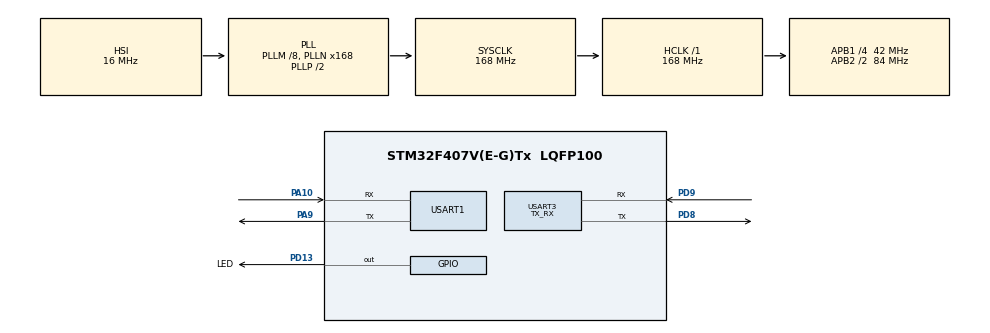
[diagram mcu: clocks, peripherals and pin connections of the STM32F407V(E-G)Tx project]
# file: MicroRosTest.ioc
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Dma.Request0=USART1_RX
Dma.Request1=USART1_TX
Dma.USART1_RX.0.Direction=DMA_PERIPH_TO_MEMORY
Dma.USART1_RX.0.FIFOMode=DMA_FIFOMODE_DISABLE
Dma.USART1_RX.0.Instance=DMA2_Stream2
Dma.USART1_RX.0.MemDataAlignment=DMA_MDATAALIGN_BYTE
Dma.USART1_RX.0.MemInc=DMA_MINC_ENABLE
Dma.USART1_RX.0.Mode=DMA_CIRCULAR
Dma.USART1_RX.0.PeriphDataAlignment=DMA_PDATAALIGN_BYTE
Dma.USART1_RX.0.PeriphInc=DMA_PINC_DISABLE
Dma.USART1_RX.0.Priority=DMA_PRIORITY_VERY_HIGH
Dma.USART1_TX.1.Direction=DMA_MEMORY_TO_PERIPH
Dma.USART1_TX.1.FIFOMode=DMA_FIFOMODE_DISABLE
Dma.USART1_TX.1.Instance=DMA2_Stream7
Dma.USART1_TX.1.MemDataAlignment=DMA_MDATAALIGN_BYTE
Dma.USART1_TX.1.MemInc=DMA_MINC_ENABLE
Dma.USART1_TX.1.Mode=DMA_NORMAL
Dma.USART1_TX.1.PeriphDataAlignment=DMA_PDATAALIGN_BYTE
Dma.USART1_TX.1.PeriphInc=DMA_PINC_DISABLE
Dma.USART1_TX.1.Priority=DMA_PRIORITY_VERY_HIGH
FREERTOS.Tasks01=defaultTask,24,3000,StartDefaultTask,Default,NULL,Static,defaultTaskBuffer,defaultTaskControlBlock
Mcu.Family=STM32F4
Mcu.Name=STM32F407V(E-G)Tx
Mcu.Package=LQFP100
NVIC.DMA2_Stream2_IRQn=true\:5\:0\:false\:false\:true\:true\:false\:true\:true
NVIC.DMA2_Stream7_IRQn=true\:5\:0\:false\:false\:true\:true\:false\:true\:true
NVIC.PriorityGroup=NVIC_PRIORITYGROUP_4
NVIC.TIM1_UP_TIM10_IRQn=true\:15\:0\:false\:false\:true\:false\:false\:true\:true
NVIC.TimeBase=TIM1_UP_TIM10_IRQn
NVIC.TimeBaseIP=TIM1
NVIC.USART1_IRQn=true\:5\:0\:false\:false\:true\:true\:true\:true\:true
PA10.Mode=Asynchronous
PA10.Signal=USART1_RX
PA9.Mode=Asynchronous
PA9.Signal=USART1_TX
PD13.GPIO_Label=LED
PD13.GPIO_PuPd=GPIO_PULLUP
PD13.Signal=GPIO_Output
PD8.Mode=Asynchronous
PD8.Signal=USART3_TX
PD9.Mode=Asynchronous
PD9.Signal=USART3_RX
PH0-OSC_IN.Mode=HSE-External-Oscillator
PH0-OSC_IN.Signal=RCC_OSC_IN
PH1-OSC_OUT.Mode=HSE-External-Oscillator
PH1-OSC_OUT.Signal=RCC_OSC_OUT
ProjectManager.HeapSize=0x200
ProjectManager.StackSize=0x400
ProjectManager.TargetToolchain=Makefile
RCC.48MHZClocksFreq_Value=84000000
RCC.AHBFreq_Value=168000000
RCC.APB1CLKDivider=RCC_HCLK_DIV4
RCC.APB1Freq_Value=42000000
RCC.APB1TimFreq_Value=84000000
RCC.APB2CLKDivider=RCC_HCLK_DIV2
RCC.APB2Freq_Value=84000000
RCC.APB2TimFreq_Value=168000000
RCC.CortexFreq_Value=168000000
RCC.HCLKFreq_Value=168000000
RCC.HSE_VALUE=25000000
RCC.HSI_VALUE=16000000
RCC.LSE_VALUE=32768
RCC.PLLM=8
RCC.PLLN=168
RCC.SYSCLKFreq_VALUE=168000000
RCC.SYSCLKSource=RCC_SYSCLKSOURCE_PLLCLK
RCC.VCOOutputFreq_Value=336000000
USART1.VirtualMode=VM_ASYNC
USART3.Mode=MODE_TX_RX
USART3.VirtualMode=VM_ASYNC
VP_FREERTOS_VS_CMSIS_V2.Mode=CMSIS_V2
VP_SYS_VS_tim1.Mode=TIM1
board=custom

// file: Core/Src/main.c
/* USER CODE BEGIN Header */
/**
  ******************************************************************************
  * @file           : main.c
  * @brief          : Main program body
  ******************************************************************************
  * @attention
  *
  * Copyright (c) 2023 STMicroelectronics.
  * All rights reserved.
  *
  * This software is licensed under terms that can be found in the LICENSE file
  * in the root directory of this software component.
  * If no LICENSE file comes with this software, it is provided AS-IS.
  *
  ******************************************************************************
  */
/* USER CODE END Header */
#include "main.h"
#include "cmsis_os.h"
#include "dma.h"
#include "usart.h"
#include "gpio.h"

void SystemClock_Config(void);
void MX_FREERTOS_Init(void);

int main(void)
{

  /* MCU Configuration--------------------------------------------------------*/

  /* Reset of all peripherals, Initializes the Flash interface and the Systick. */
  HAL_Init();

  /* Configure the system clock */
  SystemClock_Config();

  /* Initialize all configured peripherals */
  MX_GPIO_Init();
  MX_DMA_Init();
  MX_USART1_UART_Init();
  MX_USART3_UART_Init();

  /* Init scheduler */
  osKernelInitialize();  /* Call init function for freertos objects (in freertos.c) */
  MX_FREERTOS_Init();

  /* Start scheduler */
  osKernelStart();

  /* We should never get here as control is now taken by the scheduler */
  /* Infinite loop */
  /* USER CODE BEGIN WHILE */
  while (1)
  {
    break;
    /* USER CODE END WHILE */

  }
}

void SystemClock_Config(void)
{
  RCC_OscInitTypeDef RCC_OscInitStruct = {0};
  RCC_ClkInitTypeDef RCC_ClkInitStruct = {0};

  /** Configure the main internal regulator output voltage
  */
  __HAL_RCC_PWR_CLK_ENABLE();
  __HAL_PWR_VOLTAGESCALING_CONFIG(PWR_REGULATOR_VOLTAGE_SCALE1);

  /** Initializes the RCC Oscillators according to the specified parameters
  * in the RCC_OscInitTypeDef structure.
  */
  RCC_OscInitStruct.OscillatorType = RCC_OSCILLATORTYPE_HSI;
  RCC_OscInitStruct.HSIState = RCC_HSI_ON;
  RCC_OscInitStruct.HSICalibrationValue = RCC_HSICALIBRATION_DEFAULT;
  RCC_OscInitStruct.PLL.PLLState = RCC_PLL_ON;
  RCC_OscInitStruct.PLL.PLLSource = RCC_PLLSOURCE_HSI;
  RCC_OscInitStruct.PLL.PLLM = 8;
  RCC_OscInitStruct.PLL.PLLN = 168;
  RCC_OscInitStruct.PLL.PLLP = RCC_PLLP_DIV2;
  RCC_OscInitStruct.PLL.PLLQ = 4;
  if (HAL_RCC_OscConfig(&RCC_OscInitStruct) != HAL_OK)
  {
    Error_Handler();
  }

  /** Initializes the CPU, AHB and APB buses clocks
  */
  RCC_ClkInitStruct.ClockType = RCC_CLOCKTYPE_HCLK|RCC_CLOCKTYPE_SYSCLK
                              |RCC_CLOCKTYPE_PCLK1|RCC_CLOCKTYPE_PCLK2;
  RCC_ClkInitStruct.SYSCLKSource = RCC_SYSCLKSOURCE_PLLCLK;
  RCC_ClkInitStruct.AHBCLKDivider = RCC_SYSCLK_DIV1;
  RCC_ClkInitStruct.APB1CLKDivider = RCC_HCLK_DIV4;
  RCC_ClkInitStruct.APB2CLKDivider = RCC_HCLK_DIV2;

  if (HAL_RCC_ClockConfig(&RCC_ClkInitStruct, FLASH_LATENCY_5) != HAL_OK)
  {
    Error_Handler();
  }
}

void HAL_TIM_PeriodElapsedCallback(TIM_HandleTypeDef *htim)
{
  if (htim->Instance == TIM1) {
    HAL_IncTick();
  }
}

void Error_Handler(void)
{
  __disable_irq();
  while (1)
  {
  }
}

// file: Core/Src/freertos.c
/* USER CODE BEGIN Header */
/**
  ******************************************************************************
  * File Name          : freertos.c
  * Description        : Code for freertos applications
  ******************************************************************************
  * @attention
  *
  * Copyright (c) 2023 STMicroelectronics.
  * All rights reserved.
  *
  * This software is licensed under terms that can be found in the LICENSE file
  * in the root directory of this software component.
  * If no LICENSE file comes with this software, it is provided AS-IS.
  *
  ******************************************************************************
  */
/* USER CODE END Header */

#include "FreeRTOS.h"
#include "task.h"
#include "main.h"
#include "cmsis_os.h"

/* USER CODE BEGIN Includes */
#include <rcl/rcl.h>
#include <rcl/error_handling.h>
#include <rclc/rclc.h>
#include <rclc/executor.h>
#include <uxr/client/transport.h>
#include <rmw_microxrcedds_c/config.h>
#include <rmw_microros/rmw_microros.h>

#include <std_msgs/msg/int32.h>
#include "usart.h"
/* USER CODE END Includes */

typedef StaticTask_t osStaticThreadDef_t;

/* Definitions for defaultTask */
osThreadId_t defaultTaskHandle;
uint32_t defaultTaskBuffer[ 3000 ];
osStaticThreadDef_t defaultTaskControlBlock;
const osThreadAttr_t defaultTask_attributes = {
  .name = "defaultTask",
  .cb_mem = &defaultTaskControlBlock,
  .cb_size = sizeof(defaultTaskControlBlock),
  .stack_mem = &defaultTaskBuffer[0],
  .stack_size = sizeof(defaultTaskBuffer),
  .priority = (osPriority_t) osPriorityNormal,
};

/* USER CODE BEGIN FunctionPrototypes */
bool cubemx_transport_open(struct uxrCustomTransport * transport);
bool cubemx_transport_close(struct uxrCustomTransport * transport);
size_t cubemx_transport_write(struct uxrCustomTransport* transport, const uint8_t * buf, size_t len, uint8_t * err);
size_t cubemx_transport_read(struct uxrCustomTransport* transport, uint8_t* buf, size_t len, int timeout, uint8_t* err);

void * microros_allocate(size_t size, void * state);
void microros_deallocate(void * pointer, void * state);
void * microros_reallocate(void * pointer, size_t size, void * state);
void * microros_zero_allocate(size_t number_of_elements, size_t size_of_element, void * state);
/* USER CODE END FunctionPrototypes */

void StartDefaultTask(void *argument);

void MX_FREERTOS_Init(void); /* (MISRA C 2004 rule 8.1) */

void MX_FREERTOS_Init(void) {

  /* Create the thread(s) */
  /* creation of defaultTask */
  defaultTaskHandle = osThreadNew(StartDefaultTask, NULL, &defaultTask_attributes);

  /* USER CODE BEGIN RTOS_THREADS */
  /* add threads, ... */
  if(defaultTaskHandle == NULL)
  {
    u3_printf("Failed to create microros thread!\r\n");
  }
  else
  {
    u3_printf("Create microros thread successfully.\r\n");
  }
  /* USER CODE END RTOS_THREADS */

}

void StartDefaultTask(void *argument)
{
  /* USER CODE BEGIN StartDefaultTask */
  /* Infinite loop */
  // micro-ROS configuration

  osDelay(5000); // Wait for ROS agent to open

  rmw_uros_set_custom_transport(
    true,
    (void *) &huart1,
    cubemx_transport_open,
    cubemx_transport_close,
    cubemx_transport_write,
    cubemx_transport_read);

  rcl_allocator_t freeRTOS_allocator = rcutils_get_zero_initialized_allocator();
  freeRTOS_allocator.allocate = microros_allocate;
  freeRTOS_allocator.deallocate = microros_deallocate;
  freeRTOS_allocator.reallocate = microros_reallocate;
  freeRTOS_allocator.zero_allocate =  microros_zero_allocate;

  if (!rcutils_set_default_allocator(&freeRTOS_allocator)) {
      u3_printf("rcutils_set_default_allocator error (line %d)\r\n", __LINE__);
  }else{
      u3_printf("rcutils_set_default_allocator success.\r\n");
  }

  // micro-ROS app

  rcl_publisher_t publisher;
  std_msgs__msg__Int32 msg;
  rclc_support_t support;
  rcl_allocator_t allocator;
  rcl_node_t node;
  rcl_ret_t rc;
  allocator = rcl_get_default_allocator();
  if(allocator.allocate == NULL || allocator.deallocate == NULL)
  {
     u3_printf("rcl_get_default_allocator error (line %d)\r\n", __LINE__);
  }
  else
  {
     u3_printf("rcl_get_default_allocator success\r\n");
  }

  //create init_options
  rc = rclc_support_init(&support, 0, NULL, &allocator);
  if(rc != RCL_RET_OK)
  {
	  u3_printf("rclc_support_init error. (line %d)\r\n", __LINE__);
	  rclc_support_fini(&support);
  }
  else
  {
	  u3_printf("rclc_support_init success.\r\n");
  }

  // create node
  rclc_node_init_default(&node, "cubemx_node", "", &support);

  // create publisher
  rclc_publisher_init_default(
    &publisher,
    &node,
    ROSIDL_GET_MSG_TYPE_SUPPORT(std_msgs, msg, Int32),
    "cubemx_publisher");

  msg.data = 0;

  for(;;)
  {
    rcl_ret_t ret = rcl_publish(&publisher, &msg, NULL);
    if (ret != RCL_RET_OK)
    {
      u3_printf("Error publishing (line %d)\r\n", __LINE__);
    }
    else
    {
      HAL_GPIO_TogglePin(LED_GPIO_Port, LED_Pin); // normal running
    }
    msg.data++;

    osDelay(500);
  }
  /* USER CODE END StartDefaultTask */
}
